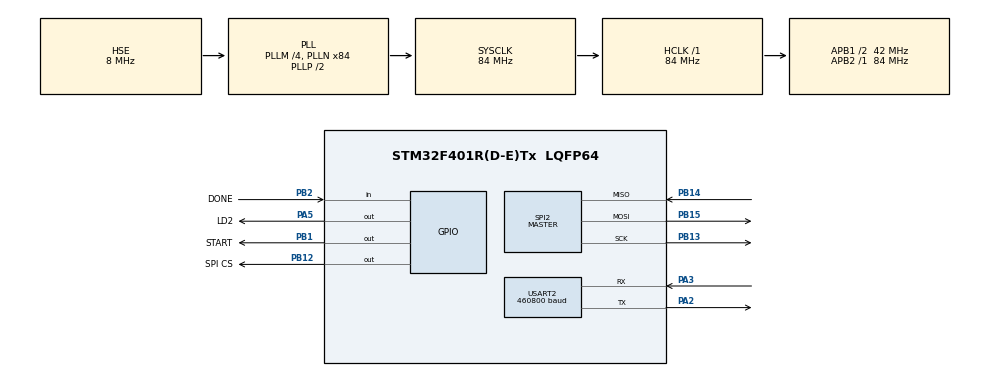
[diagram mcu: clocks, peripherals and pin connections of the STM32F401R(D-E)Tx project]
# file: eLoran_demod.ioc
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Mcu.Family=STM32F4
Mcu.Name=STM32F401R(D-E)Tx
Mcu.Package=LQFP64
NVIC.PriorityGroup=NVIC_PRIORITYGROUP_4
NVIC.USART2_IRQn=true\:0\:0\:false\:false\:true\:true\:true\:true
PA13.Mode=Serial_Wire
PA13.Signal=SYS_JTMS-SWDIO
PA14.Mode=Serial_Wire
PA14.Signal=SYS_JTCK-SWCLK
PA2.Mode=Asynchronous
PA2.Signal=USART2_TX
PA3.Mode=Asynchronous
PA3.Signal=USART2_RX
PA5.GPIO_Label=LD2
PA5.Signal=GPIO_Output
PB1.GPIO_Label=START
PB1.Signal=GPIO_Output
PB12.GPIO_Label=SPI CS
PB12.GPIO_PuPd=GPIO_PULLUP
PB12.PinState=GPIO_PIN_SET
PB12.Signal=GPIO_Output
PB13.Mode=Full_Duplex_Master
PB13.Signal=SPI2_SCK
PB14.Mode=Full_Duplex_Master
PB14.Signal=SPI2_MISO
PB15.Mode=Full_Duplex_Master
PB15.Signal=SPI2_MOSI
PB2.GPIO_Label=DONE
PB2.GPIO_PuPd=GPIO_PULLDOWN
PB2.Signal=GPIO_Input
PH0\ -\ OSC_IN.Mode=HSE-External-Clock-Source
PH0\ -\ OSC_IN.Signal=RCC_OSC_IN
PH1\ -\ OSC_OUT.Mode=HSE-External-Clock-Source
PH1\ -\ OSC_OUT.Signal=RCC_OSC_OUT
ProjectManager.HeapSize=0x200
ProjectManager.StackSize=0x400
ProjectManager.TargetToolchain=STM32CubeIDE
RCC.48MHZClocksFreq_Value=42000000
RCC.AHBFreq_Value=84000000
RCC.APB1CLKDivider=RCC_HCLK_DIV2
RCC.APB1Freq_Value=42000000
RCC.APB1TimFreq_Value=84000000
RCC.APB2Freq_Value=84000000
RCC.APB2TimFreq_Value=84000000
RCC.CortexFreq_Value=84000000
RCC.HCLKFreq_Value=84000000
RCC.HSE_VALUE=8000000
RCC.HSI_VALUE=16000000
RCC.LSE_VALUE=32768
RCC.PLLM=4
RCC.PLLN=84
RCC.PLLSourceVirtual=RCC_PLLSOURCE_HSE
RCC.SYSCLKFreq_VALUE=84000000
RCC.SYSCLKSource=RCC_SYSCLKSOURCE_PLLCLK
RCC.VCOOutputFreq_Value=168000000
SPI2.BaudRatePrescaler=SPI_BAUDRATEPRESCALER_4
SPI2.Direction=SPI_DIRECTION_2LINES
SPI2.Mode=SPI_MODE_MASTER
SPI2.VirtualType=VM_MASTER
STMicroelectronics.FP-SNS-STAIOTCFT.1.1.0.MathOoLibCcCMSISJjDSPJjInclude=true
STMicroelectronics.FP-SNS-STAIOTCFT.1.1.0.MathOoLibCcCMSISJjDSPJjLib=true
TIM2.Prescaler=83
USART2.BaudRate=460800
USART2.VirtualMode=VM_ASYNC
VP_STMicroelectronics.FP-SNS-STAIOTCFT_VS_CMSISJjMathOoLib_1.0.0_1.1.0.Mode=CMSISJjMathOoLib
VP_TIM2_VS_ClockSourceINT.Mode=Internal
board=custom

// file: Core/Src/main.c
/* USER CODE BEGIN Header */
/**
  ******************************************************************************
  * @file           : main.c
  * @brief          : Main program body
  ******************************************************************************
  * @attention
  *
  * Copyright (c) 2026 STMicroelectronics.
  * All rights reserved.
  *
  * This software is licensed under terms that can be found in the LICENSE file
  * in the root directory of this software component.
  * If no LICENSE file comes with this software, it is provided AS-IS.
  *
  ******************************************************************************
  */
/* USER CODE END Header */
#include "main.h"
#include "spi.h"
#include "tim.h"
#include "usart.h"
#include "gpio.h"

/* USER CODE BEGIN Includes */
#include "proto.h"
#include "frame.h"
#include "corr.h"
#include "demod.h"
#include <string.h>

// FPGA 추가
#include "spi.h"
#include "fpga_spi.h"
#define USE_FPGA 0        	// 1=FPGA 오프로딩, 0=MCU 단독 (비교용)
#define USE_CMSIS 1			// 1=CMSIS DSP 사용, 0=미사용 (비교용)

/* USER CODE END Includes */

/* USER CODE BEGIN PD */
//#define DIAG_BUFFER_CHECK   1		// 진단 코드: ON(1) / OFF(0)

/* USER CODE END PD */

/* USER CODE BEGIN PV */
static uint8_t     g_rx_byte;                     // UART 1바이트 수신 버퍼
static int64_t     g_corr[N_PULSE][N_CAND];       // 상관값 6x3
static DemodResult g_result;
static uint8_t     g_payload[PROTO_LEN_RESULT];   // 결과 31 B
/* USER CODE END PV */

void SystemClock_Config(void);
/* USER CODE BEGIN PFP */
static uint32_t us_now(void);
static void     put_u32(uint8_t *p, uint32_t v);
static void     run_demod(void);
/* USER CODE END PFP */

/* USER CODE BEGIN 0 */

// TIM2 : Prescaler 83 -> 1 tick = 1 us, Period 0xFFFFFFFF (32비트)
// uint32 뺄셈이므로 카운터가 한 바퀴 돌아도 경과시간은 정상적으로 나온다.
static uint32_t us_now(void)
{
    return __HAL_TIM_GET_COUNTER(&htim2);
}

// uint32를 리틀 엔디안 4바이트로 쓴다
static void put_u32(uint8_t *p, uint32_t v)
{
    p[0] = (uint8_t)(v      );
    p[1] = (uint8_t)(v >>  8);
    p[2] = (uint8_t)(v >> 16);
    p[3] = (uint8_t)(v >> 24);
}

// CMD_DEMOD 를 받았을 때 실행되는 본체
static void run_demod(void)
{

	// 1. FPGA 상관 계산 + SPI 전송 시간
    uint8_t status = STATUS_OK;
    uint32_t t0 = us_now();

#if USE_FPGA
    if (FPGA_ReadCorr(g_corr) != 0) status = STATUS_NO_SIGNAL;   // START->DONE->SPI
#else
    status = FRAME_SignalReady() ? STATUS_OK : STATUS_NO_SIGNAL;
	#if USE_CMSIS
		CORR_Compute_DSP(FRAME_Signal(), g_corr);
	#else
		CORR_Compute(FRAME_Signal(), g_corr);
	#endif
#endif
    uint32_t t1 = us_now();

// 기존 (MCU 단독)
//    uint8_t status = FRAME_SignalReady() ? STATUS_OK : STATUS_NO_SIGNAL;
//
//    uint32_t t0 = us_now();
//
//    // 1. 상관 : 6펄스 x 3후보 = 18회
//    CORR_Compute(FRAME_Signal(), g_corr);
//    uint32_t t1 = us_now();

    // 2. 판정 : Step 1 -> CDC -> MDD
    DEMOD_Run(g_corr, &g_result);
    uint32_t t2 = us_now();

    // 3. 결과 페이로드 31 B 조립
    memset(g_payload, 0, sizeof(g_payload));

    memcpy(&g_payload[RES_OFF_EST_PULSES], g_result.est_pulses, N_PULSE);
    memcpy(&g_payload[RES_OFF_BITS],       g_result.bits,       N_BITS);

    g_payload[RES_OFF_STATE]  = g_result.state;
    g_payload[RES_OFF_STATUS] = status;

    put_u32(&g_payload[RES_OFF_T_CORR],   t1 - t0);
    put_u32(&g_payload[RES_OFF_T_DECIDE], t2 - t1);
    put_u32(&g_payload[RES_OFF_T_TOTAL],  t2 - t0);

//#if DIAG_BUFFER_CHECK
//    // 하위 8비트씩: timeout / crc_err / uart_err
//    const FrameStat *st = FRAME_Stats();
//    put_u32(&g_payload[RES_OFF_T_COMM],
//            ((st->n_uart_err & 0xFF) << 16) |
//            ((st->n_crc_err  & 0xFF) <<  8) |
//             (st->n_timeout  & 0xFF));
//#else
    put_u32(&g_payload[RES_OFF_T_COMM], 0);   // FPGA 연동 전이므로 0
//#endif

    FRAME_SendResult(g_payload);

    HAL_GPIO_TogglePin(LD2_GPIO_Port, LD2_Pin);   // 동작 확인용
}

/* USER CODE END 0 */

int main(void)
{

  /* MCU Configuration--------------------------------------------------------*/

  /* Reset of all peripherals, Initializes the Flash interface and the Systick. */
  HAL_Init();

  /* Configure the system clock */
  SystemClock_Config();

  /* Initialize all configured peripherals */
  MX_GPIO_Init();
  MX_TIM2_Init();
  MX_USART2_UART_Init();
  MX_SPI2_Init();
  /* USER CODE BEGIN 2 */

  HAL_TIM_Base_Start(&htim2);      // 처리시간 측정용 프리러닝 카운터

  DEMOD_Init();                    // 729-entry 해시 테이블 생성
  FRAME_Init();

  HAL_UART_Receive_IT(&huart2, &g_rx_byte, 1);   // 첫 바이트 대기

  /* USER CODE END 2 */

  /* Infinite loop */
  while (1)
  {

    /* USER CODE BEGIN 3 */

	FRAME_Tick();                  // 프레임 도중 끊기면 파서 리셋

	switch (FRAME_TakeEvent()) {

	case FRAME_LOAD:
        // 확정된 신호를 처리 버퍼로 옮긴다.
        FRAME_CommitSignal();
		break;

	case FRAME_DEMOD:
        // LOAD와 DEMOD가 연달아 도착해 LOAD 이벤트를 놓쳤을 수도 있으니
        // CommitSignal은 여러번 불러도 안전하므로 여기서 한번 더 부른다.
        FRAME_CommitSignal();
        run_demod();
		break;

	default:
		break;
	}

  }

  /* USER CODE END 3 */
}

void SystemClock_Config(void)
{
  RCC_OscInitTypeDef RCC_OscInitStruct = {0};
  RCC_ClkInitTypeDef RCC_ClkInitStruct = {0};

  /** Configure the main internal regulator output voltage
  */
  __HAL_RCC_PWR_CLK_ENABLE();
  __HAL_PWR_VOLTAGESCALING_CONFIG(PWR_REGULATOR_VOLTAGE_SCALE2);

  /** Initializes the RCC Oscillators according to the specified parameters
  * in the RCC_OscInitTypeDef structure.
  */
  RCC_OscInitStruct.OscillatorType = RCC_OSCILLATORTYPE_HSE;
  RCC_OscInitStruct.HSEState = RCC_HSE_BYPASS;
  RCC_OscInitStruct.PLL.PLLState = RCC_PLL_ON;
  RCC_OscInitStruct.PLL.PLLSource = RCC_PLLSOURCE_HSE;
  RCC_OscInitStruct.PLL.PLLM = 4;
  RCC_OscInitStruct.PLL.PLLN = 84;
  RCC_OscInitStruct.PLL.PLLP = RCC_PLLP_DIV2;
  RCC_OscInitStruct.PLL.PLLQ = 4;
  if (HAL_RCC_OscConfig(&RCC_OscInitStruct) != HAL_OK)
  {
    Error_Handler();
  }

  /** Initializes the CPU, AHB and APB buses clocks
  */
  RCC_ClkInitStruct.ClockType = RCC_CLOCKTYPE_HCLK|RCC_CLOCKTYPE_SYSCLK
                              |RCC_CLOCKTYPE_PCLK1|RCC_CLOCKTYPE_PCLK2;
  RCC_ClkInitStruct.SYSCLKSource = RCC_SYSCLKSOURCE_PLLCLK;
  RCC_ClkInitStruct.AHBCLKDivider = RCC_SYSCLK_DIV1;
  RCC_ClkInitStruct.APB1CLKDivider = RCC_HCLK_DIV2;
  RCC_ClkInitStruct.APB2CLKDivider = RCC_HCLK_DIV1;

  if (HAL_RCC_ClockConfig(&RCC_ClkInitStruct, FLASH_LATENCY_2) != HAL_OK)
  {
    Error_Handler();
  }
}

/* USER CODE BEGIN 4 */

// 바이트가 하나 도착할 때마다 호출된다. (USART2 global interrupt)
void HAL_UART_RxCpltCallback(UART_HandleTypeDef *huart)
{
    if (huart->Instance == USART2) {
        FRAME_FeedByte(g_rx_byte);
        HAL_UART_Receive_IT(huart, &g_rx_byte, 1);   // 다음 바이트 재무장
    }
}

// 오버런(ORE) 이 나면 HAL 이 수신을 중단한다.
void HAL_UART_ErrorCallback(UART_HandleTypeDef *huart)
{
    if (huart->Instance == USART2) {
        FRAME_NotifyUartError();
        HAL_UART_Receive_IT(huart, &g_rx_byte, 1);
    }
}

/* USER CODE END 4 */

void Error_Handler(void)
{
  __disable_irq();
  while (1)
  {
  }
}
